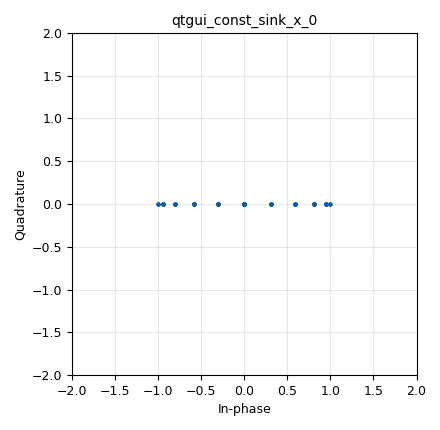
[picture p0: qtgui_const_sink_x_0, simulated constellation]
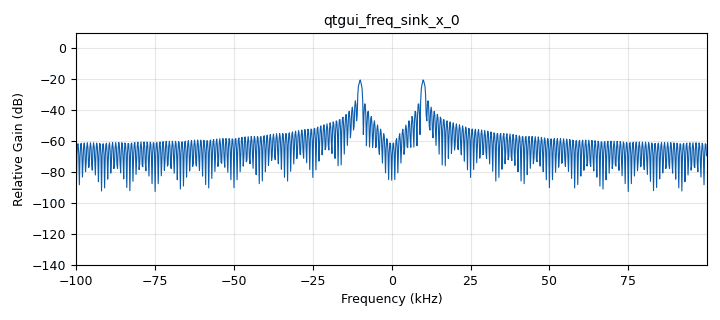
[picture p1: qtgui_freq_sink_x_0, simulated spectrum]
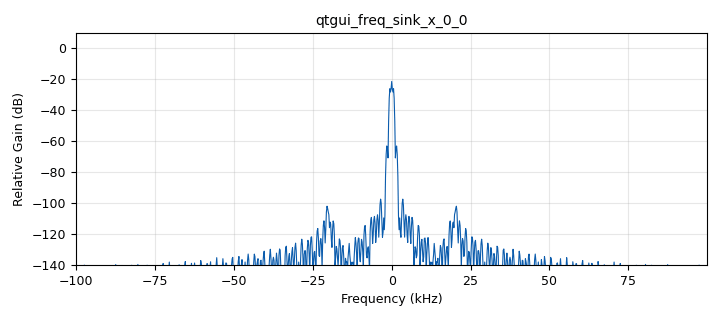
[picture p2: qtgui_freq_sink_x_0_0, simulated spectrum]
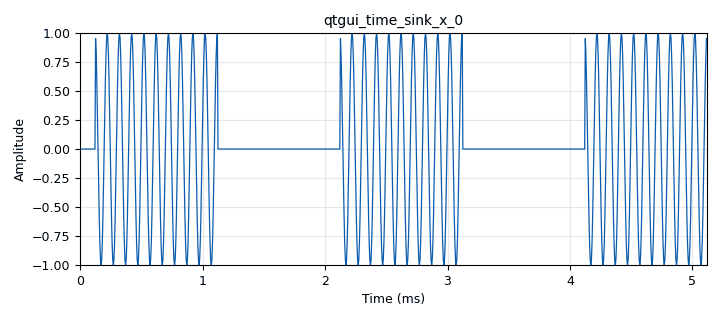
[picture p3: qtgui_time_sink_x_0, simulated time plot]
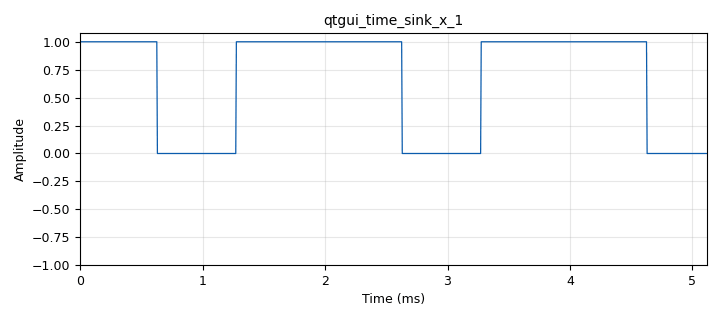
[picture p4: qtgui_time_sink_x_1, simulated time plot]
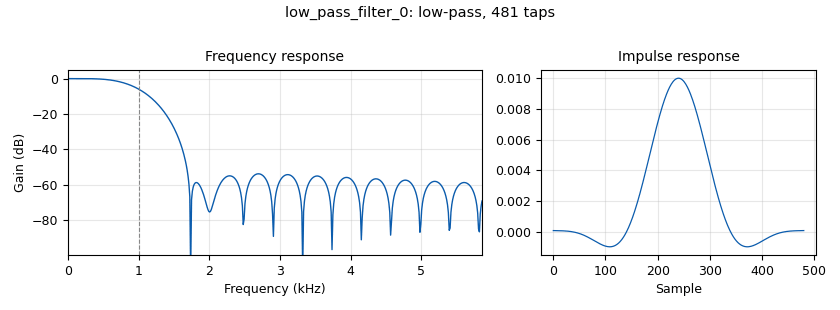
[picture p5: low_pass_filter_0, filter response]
options:
  parameters:
    generate_options: qt_gui
    id: ASK
    output_language: python
    title: Not titled yet
  states: {}

blocks:
- name: samp_rate
  id: variable
  parameters:
    value: '200000'
  states: {}
- name: analog_sig_source_x_0
  id: analog_sig_source_x
  parameters:
    amp: '1'
    freq: '10000'
    offset: '0'
    phase: '0'
    samp_rate: samp_rate
    type: float
    waveform: analog.GR_COS_WAVE
  states: {}
- name: analog_sig_source_x_1
  id: analog_sig_source_x
  parameters:
    amp: '1'
    freq: '500'
    offset: '0'
    phase: '0'
    samp_rate: samp_rate
    type: float
    waveform: analog.GR_SQR_WAVE
  states: {}
- name: analog_sig_source_x_1_0
  id: analog_sig_source_x
  parameters:
    amp: '1'
    freq: '10000'
    offset: '0'
    phase: '0'
    samp_rate: samp_rate
    type: float
    waveform: analog.GR_COS_WAVE
  states: {}
- name: blocks_float_to_complex_0
  id: blocks_float_to_complex
  parameters: {}
  states: {}
- name: blocks_multiply_xx_0
  id: blocks_multiply_xx
  parameters:
    type: float
  states: {}
- name: blocks_multiply_xx_1
  id: blocks_multiply_xx
  parameters:
    type: float
  states: {}
- name: blocks_threshold_ff_0
  id: blocks_threshold_ff
  parameters:
    high: '200e-3'
    init: '0'
    low: '0'
  states: {}
- name: blocks_throttle2_0
  id: blocks_throttle2
  parameters:
    samples_per_second: samp_rate
    type: float
  states: {}
- name: blocks_throttle2_0_0
  id: blocks_throttle2
  parameters:
    samples_per_second: samp_rate
    type: float
  states: {}
- name: low_pass_filter_0
  id: low_pass_filter
  parameters:
    cutoff_freq: '1000'
    decim: '1'
    gain: '1'
    samp_rate: '200000'
    type: fir_filter_fff
    width: '1000'
    win: window.WIN_HAMMING
  states: {}
- name: note_0
  id: note
  parameters:
    note: ASK MODULATION
  states: {}
- name: note_1
  id: note
  parameters:
    note: ASK DEMODULATION
  states: {}
- name: note_2
  id: note
  parameters:
    note: 'ROHIT SATISH PATIL '
  states: {}
- name: note_3
  id: note
  parameters:
    note: 'MT24CMN011  '
  states: {}
- name: note_4
  id: note
  parameters:
    note: ' M.Tech. CMN'
  states: {}
- name: qtgui_const_sink_x_0
  id: qtgui_const_sink_x
  parameters:
    size: '1024'
    type: complex
  states: {}
- name: qtgui_freq_sink_x_0
  id: qtgui_freq_sink_x
  parameters:
    bw: samp_rate
    fc: '0'
    fftsize: '1024'
    type: float
  states: {}
- name: qtgui_freq_sink_x_0_0
  id: qtgui_freq_sink_x
  parameters:
    bw: samp_rate
    fc: '0'
    fftsize: '1024'
    type: float
  states: {}
- name: qtgui_time_sink_x_0
  id: qtgui_time_sink_x
  parameters:
    size: '1024'
    srate: samp_rate
    type: float
  states: {}
- name: qtgui_time_sink_x_1
  id: qtgui_time_sink_x
  parameters:
    size: '1024'
    srate: samp_rate
    type: float
  states: {}

connections:
- [analog_sig_source_x_0, '0', blocks_throttle2_0, '0']
- [analog_sig_source_x_1, '0', blocks_multiply_xx_0, '1']
- [analog_sig_source_x_1_0, '0', blocks_multiply_xx_1, '1']
- [blocks_float_to_complex_0, '0', qtgui_const_sink_x_0, '0']
- [blocks_multiply_xx_0, '0', blocks_float_to_complex_0, '0']
- [blocks_multiply_xx_0, '0', blocks_multiply_xx_1, '0']
- [blocks_multiply_xx_0, '0', qtgui_freq_sink_x_0, '0']
- [blocks_multiply_xx_0, '0', qtgui_time_sink_x_0, '0']
- [blocks_multiply_xx_1, '0', blocks_throttle2_0_0, '0']
- [blocks_threshold_ff_0, '0', qtgui_time_sink_x_1, '0']
- [blocks_throttle2_0, '0', blocks_multiply_xx_0, '0']
- [blocks_throttle2_0_0, '0', low_pass_filter_0, '0']
- [low_pass_filter_0, '0', blocks_threshold_ff_0, '0']
- [low_pass_filter_0, '0', qtgui_freq_sink_x_0_0, '0']

metadata:
  file_format: 1
  grc_version: 3.10.10.0
